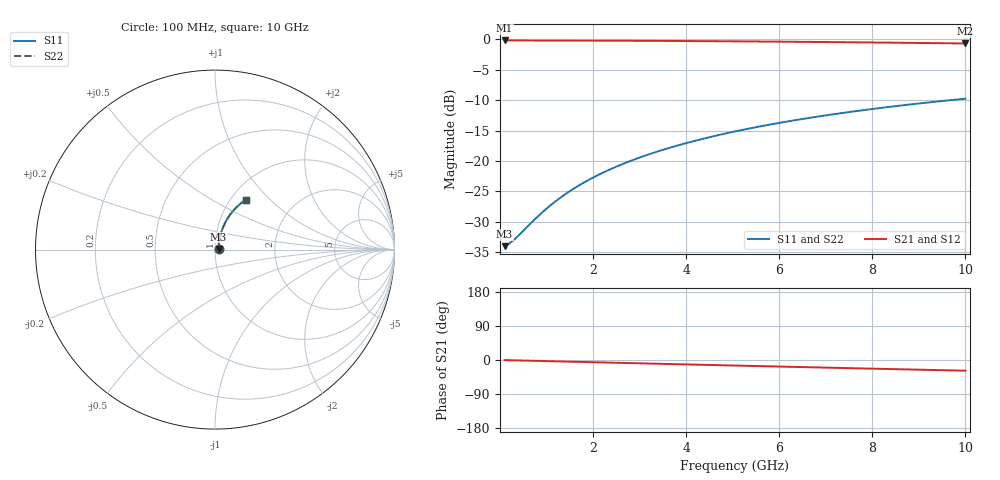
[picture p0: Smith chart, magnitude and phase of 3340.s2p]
# Hz S RI R 50.00
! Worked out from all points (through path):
!   100 points, 100 MHz to 10 GHz, reference 50 ohm
!   highest |S21| = -0.17 dB at 100 MHz (marker M1); lowest = -0.7 dB at 10 GHz (marker M2)
!   group delay of S21, straight-line fit = 7.85 ps
!   lowest |S11| = -34.0 dB at 100 MHz (marker M3), VSWR 1.04, Z = 52 + j0.355 ohm
!   |S11| at or under -10 dB: start of sweep to 9.683 GHz
!   |S22| runs from -34.0 to -9.8 dB; largest |S21 - S12| = 0
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1e8  0.0196 0.00341  0.9804 -0.00501  0.9804 -0.00501  0.0196 0.00341
2e8  0.0197 0.00682  0.9802 -0.01  0.9802 -0.01  0.0197 0.00682
3e8  0.0199 0.0102  0.9801 -0.015  0.9801 -0.015  0.0199 0.0102
4e8  0.0201 0.0136  0.9798 -0.02  0.9798 -0.02  0.0201 0.0136
8e8  0.0212 0.0272  0.9787 -0.04  0.9787 -0.04  0.0212 0.0272
1.1e9  0.0223 0.0374  0.9775 -0.055  0.9775 -0.055  0.0223 0.0374
1.4e9  0.0237 0.0475  0.976 -0.0699  0.976 -0.0699  0.0237 0.0475
1.6e9  0.0248 0.0542  0.9749 -0.0798  0.9749 -0.0798  0.0248 0.0542
1.8e9  0.026 0.0609  0.9735 -0.0897  0.9735 -0.0897  0.026 0.0609
2.1e9  0.0281 0.0709  0.9713 -0.1044  0.9713 -0.1044  0.0281 0.0709
2.5e9  0.0314 0.084  0.9678 -0.1239  0.9678 -0.1239  0.0314 0.084
2.9e9  0.0351 0.097  0.9638 -0.1433  0.9638 -0.1433  0.0351 0.097
3.4e9  0.0405 0.1129  0.9579 -0.1673  0.9579 -0.1673  0.0405 0.1129
3.8e9  0.0454 0.1254  0.9527 -0.1862  0.9527 -0.1862  0.0454 0.1254
4.2e9  0.0508 0.1376  0.9469 -0.2048  0.9469 -0.2048  0.0508 0.1376
4.6e9  0.0566 0.1496  0.9406 -0.2232  0.9406 -0.2232  0.0566 0.1496
5.1e9  0.0645 0.1642  0.9321 -0.2458  0.9321 -0.2458  0.0645 0.1642
5.9e9  0.0785 0.1864  0.917 -0.2809  0.917 -0.2809  0.0785 0.1864
6.7e9  0.094 0.2073  0.9001 -0.3146  0.9001 -0.3146  0.094 0.2073
7.5e9  0.1109 0.2266  0.8817 -0.3469  0.8817 -0.3469  0.1109 0.2266
8.4e9  0.1313 0.2465  0.8593 -0.3813  0.8593 -0.3813  0.1313 0.2465
1e10  0.1707 0.2767  0.8161 -0.4375  0.8161 -0.4375  0.1707 0.2767
